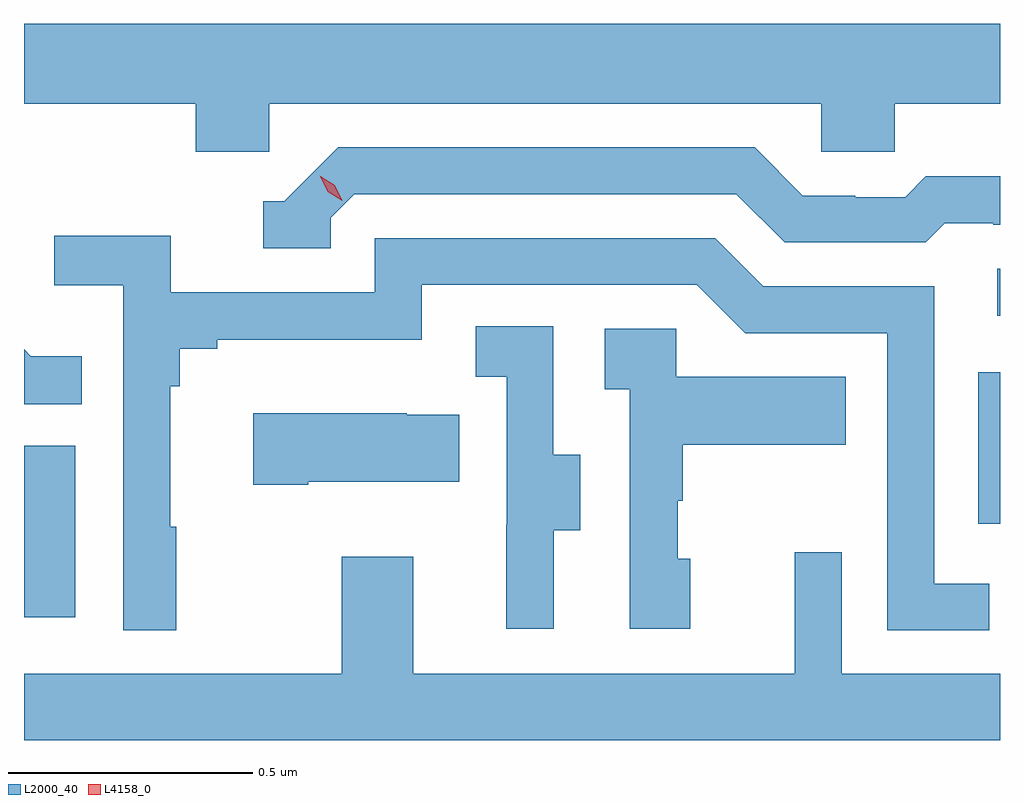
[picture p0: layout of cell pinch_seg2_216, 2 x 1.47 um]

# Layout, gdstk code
import gdstk
lib = gdstk.Library(unit=1e-6, precision=1e-09)
def R(c, l, rs):  # rectangles x0, y0, x1, y1
    for r in rs: c.add(gdstk.rectangle(r[:2], r[2:], *l))
def P(c, l, *ps):  # polygons
    for p in ps: c.add(gdstk.Polygon(p, *l))
L2000_40 = (2000, 40)
L4158_0 = (4158, 0)

pinch_seg2_216 = lib.new_cell('pinch_seg2_216')
R(pinch_seg2_216, L2000_40, [(975.697,654.576,975.802,654.927), (977.652,654.768,977.697,655.078), (977.691,655.194,977.697,655.29)])
P(pinch_seg2_216, L2000_40, [(976.2,655.628),(977.331,655.628),(977.331,655.53),(977.481,655.53),(977.481,655.628),(977.697,655.628),(977.697,655.792),(975.697,655.792),(975.697,655.628),(976.049,655.628),(976.049,655.53),(976.2,655.53)],
  [(976.326,655.395),(976.374,655.443),(977.157,655.443),(977.256,655.344),(977.545,655.344),(977.584,655.383),(977.683,655.383),(977.683,655.38),(977.697,655.38),(977.697,655.48),(977.545,655.48),(977.503,655.437),(977.4,655.437),(977.4,655.44),(977.293,655.44),(977.194,655.539),(976.341,655.539),(976.23,655.428),(976.187,655.428),(976.187,655.332),(976.326,655.332)],
  [(976.009,654.761),(975.997,654.761),(975.997,655.049),(976.016,655.049),(976.016,655.126),(976.093,655.126),(976.093,655.145),(976.512,655.145),(976.512,655.257),(977.076,655.257),(977.175,655.158),(977.466,655.158),(977.466,654.549),(977.675,654.549),(977.675,654.645),(977.562,654.645),(977.562,655.254),(977.212,655.254),(977.113,655.353),(976.416,655.353),(976.416,655.242),(975.998,655.242),(975.998,655.358),(975.759,655.358),(975.759,655.256),(975.9,655.256),(975.9,654.549),(976.009,654.549)],
  [(976.783,654.754),(976.837,654.754),(976.837,654.909),(976.782,654.909),(976.782,655.172),(976.623,655.172),(976.623,655.069),(976.686,655.069),(976.686,654.765),(976.685,654.765),(976.685,654.552),(976.783,654.552)],
  [(977.062,654.696),(977.037,654.696),(977.037,654.815),(977.047,654.815),(977.047,654.929),(977.381,654.929),(977.381,655.069),(977.034,655.069),(977.034,655.167),(976.887,655.167),(976.887,655.043),(976.938,655.043),(976.938,654.552),(977.062,654.552)],
  [(975.815,655.111),(975.711,655.111),(975.697,655.125),(975.697,655.012),(975.815,655.012)],
  [(976.279,654.854),(976.589,654.854),(976.589,654.991),(976.481,654.991),(976.481,654.994),(976.167,654.994),(976.167,654.847),(976.279,654.847)],
  [(977.697,654.46),(977.373,654.46),(977.373,654.709),(977.276,654.709),(977.276,654.46),(976.495,654.46),(976.495,654.7),(976.348,654.7),(976.348,654.46),(975.697,654.46),(975.697,654.324),(977.697,654.324)])
P(pinch_seg2_216, L4158_0, [(976.349,655.429),(976.319,655.448),(976.303,655.481),(976.303,655.481),(976.303,655.481),(976.334,655.461),(976.349,655.429),(976.349,655.429)])

lib.write_gds('pinch_seg2_216.gds')
